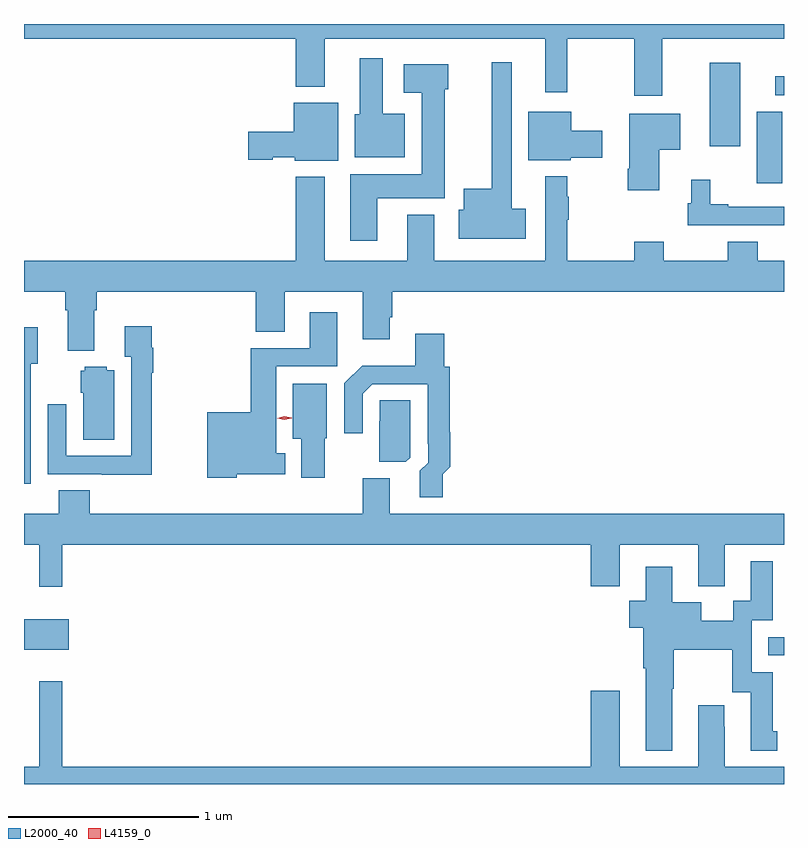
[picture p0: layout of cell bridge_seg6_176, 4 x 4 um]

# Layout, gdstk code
import gdstk
lib = gdstk.Library(unit=1e-6, precision=1e-09)
def R(c, l, rs):  # rectangles x0, y0, x1, y1
    for r in rs: c.add(gdstk.rectangle(r[:2], r[2:], *l))
def P(c, l, *ps):  # polygons
    for p in ps: c.add(gdstk.Polygon(p, *l))
L2000_40 = (2000, 40)
L4159_0 = (4159, 0)

bridge_seg6_176 = lib.new_cell('bridge_seg6_176')
R(bridge_seg6_176, L2000_40, [(366.763,920.115,366.847,920.211), (362.847,920.144,363.082,920.305), (366.704,922.599,366.838,922.975), (366.455,922.794,366.616,923.233), (366.801,923.064,366.847,923.162)])
P(bridge_seg6_176, L2000_40, [(366.205,923.36),(366.847,923.36),(366.847,923.438),(362.847,923.438),(362.847,923.36),(364.277,923.36),(364.277,923.108),(364.429,923.108),(364.429,923.36),(365.591,923.36),(365.591,923.079),(365.705,923.079),(365.705,923.36),(366.058,923.36),(366.058,923.061),(366.205,923.061)],
  [(364.852,922.966),(364.735,922.966),(364.735,923.257),(364.613,923.257),(364.613,922.962),(364.589,922.962),(364.589,922.736),(364.852,922.736)],
  [(365.488,922.465),(365.413,922.465),(365.413,923.236),(365.309,923.236),(365.309,922.57),(365.162,922.57),(365.162,922.461),(365.135,922.461),(365.135,922.307),(365.488,922.307)],
  [(364.705,922.52),(365.062,922.52),(365.062,923.094),(365.08,923.094),(365.08,923.227),(364.845,923.227),(364.845,923.075),(364.94,923.075),(364.94,922.648),(364.565,922.648),(364.565,922.296),(364.705,922.296)],
  [(364.501,923.023),(364.268,923.023),(364.268,922.871),(364.026,922.871),(364.026,922.724),(364.155,922.724),(364.155,922.736),(364.272,922.736),(364.272,922.718),(364.501,922.718)],
  [(365.724,922.733),(365.89,922.733),(365.89,922.875),(365.728,922.875),(365.728,922.975),(365.501,922.975),(365.501,922.721),(365.724,922.721)],
  [(366.19,922.775),(366.301,922.775),(366.301,922.966),(366.032,922.966),(366.032,922.675),(366.025,922.675),(366.025,922.563),(366.19,922.563)],
  [(363.217,921.932),(363.23,921.932),(363.23,922.028),(364.067,922.028),(364.067,921.817),(364.219,921.817),(364.219,922.028),(364.631,922.028),(364.631,921.78),(364.771,921.78),(364.771,921.895),(364.784,921.895),(364.784,922.028),(366.847,922.028),(366.847,922.192),(366.71,922.192),(366.71,922.291),(366.55,922.291),(366.55,922.192),(366.213,922.192),(366.213,922.291),(366.058,922.291),(366.058,922.192),(365.705,922.192),(365.705,922.409),(365.713,922.409),(365.713,922.529),(365.705,922.529),(365.705,922.636),(365.591,922.636),(365.591,922.192),(365.005,922.192),(365.005,922.435),(364.865,922.435),(364.865,922.192),(364.429,922.192),(364.429,922.633),(364.277,922.633),(364.277,922.192),(362.847,922.192),(362.847,922.028),(363.065,922.028),(363.065,921.932),(363.077,921.932),(363.077,921.719),(363.217,921.719)],
  [(366.847,922.476),(366.553,922.476),(366.553,922.489),(366.459,922.489),(366.459,922.618),(366.359,922.618),(366.359,922.494),(366.34,922.494),(366.34,922.38),(366.847,922.38)],
  [(363.966,921.068),(364.222,921.068),(364.222,921.178),(364.174,921.178),(364.174,921.636),(364.495,921.636),(364.495,921.922),(364.352,921.922),(364.352,921.732),(364.04,921.732),(364.04,921.394),(363.812,921.394),(363.812,921.05),(363.966,921.05)],
  [(363.52,921.602),(363.527,921.602),(363.527,921.734),(363.52,921.734),(363.52,921.847),(363.377,921.847),(363.377,921.686),(363.411,921.686),(363.411,921.165),(363.069,921.165),(363.069,921.436),(362.973,921.436),(362.973,921.069),(363.257,921.069),(363.257,921.065),(363.52,921.065)],
  [(362.883,921.65),(362.92,921.65),(362.92,921.842),(362.847,921.842),(362.847,921.018),(362.883,921.018)],
  [(365.051,921.069),(365.09,921.108),(365.09,921.29),(365.087,921.29),(365.087,921.633),(365.06,921.633),(365.06,921.808),(364.907,921.808),(364.907,921.64),(364.627,921.64),(364.533,921.546),(364.533,921.285),(364.629,921.285),(364.629,921.492),(364.68,921.543),(364.971,921.543),(364.971,921.229),(364.974,921.229),(364.974,921.129),(364.931,921.086),(364.931,920.946),(365.051,920.946)],
  [(363.322,921.616),(363.282,921.616),(363.282,921.634),(363.168,921.634),(363.168,921.612),(363.146,921.612),(363.146,921.498),(363.158,921.498),(363.158,921.25),(363.322,921.25)],
  [(364.429,921.258),(364.441,921.258),(364.441,921.544),(364.262,921.544),(364.262,921.254),(364.307,921.254),(364.307,921.051),(364.429,921.051)],
  [(364.881,921.156),(364.881,921.458),(364.719,921.458),(364.719,921.347),(364.718,921.347),(364.718,921.133),(364.857,921.133)],
  [(363.049,920.696),(365.831,920.696),(365.831,920.478),(365.983,920.478),(365.983,920.696),(366.395,920.696),(366.395,920.48),(366.535,920.48),(366.535,920.696),(366.847,920.696),(366.847,920.86),(364.771,920.86),(364.771,921.048),(364.631,921.048),(364.631,920.86),(363.194,920.86),(363.194,920.984),(363.029,920.984),(363.029,920.86),(362.847,920.86),(362.847,920.696),(362.927,920.696),(362.927,920.475),(363.049,920.475)],
  [(366.259,919.939),(366.267,919.939),(366.267,920.144),(366.575,920.144),(366.575,919.92),(366.671,919.92),(366.671,919.614),(366.811,919.614),(366.811,919.716),(366.787,919.716),(366.787,920.025),(366.678,920.025),(366.678,920.301),(366.787,920.301),(366.787,920.611),(366.671,920.611),(366.671,920.402),(366.581,920.402),(366.581,920.296),(366.412,920.296),(366.412,920.395),(366.259,920.395),(366.259,920.581),(366.119,920.581),(366.119,920.403),(366.032,920.403),(366.032,920.261),(366.107,920.261),(366.107,920.048),(366.119,920.048),(366.119,919.613),(366.259,919.613)],
  [(366.847,919.528),(366.535,919.528),(366.535,919.739),(366.532,919.739),(366.532,919.852),(366.395,919.852),(366.395,919.528),(365.983,919.528),(365.983,919.93),(365.831,919.93),(365.831,919.528),(363.049,919.528),(363.049,919.978),(362.927,919.978),(362.927,919.528),(362.847,919.528),(362.847,919.438),(366.847,919.438)])
P(bridge_seg6_176, L4159_0, [(364.218,921.354),(364.179,921.364),(364.179,921.364),(364.179,921.364),(364.218,921.374),(364.257,921.365),(364.257,921.364),(364.257,921.364)])

lib.write_gds('bridge_seg6_176.gds')
